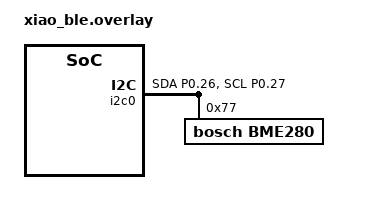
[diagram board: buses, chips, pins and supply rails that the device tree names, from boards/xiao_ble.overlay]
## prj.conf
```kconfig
# --- Core Zephyr Dependencies ---
CONFIG_GPIO=y               # Enable GPIO for LED control

# Set main thread stack size (adjust if needed)
CONFIG_MAIN_STACK_SIZE=1024

# --- I2C and Sensor Configuration ---
CONFIG_I2C=y                # Enable I2C peripheral support
CONFIG_SENSOR=y             # Enable the generic Sensor subsystem API
CONFIG_BME280=y             # Enable the BME280 sensor driver

# --- Console Output over USB (CDC ACM) ---
CONFIG_USB_DEVICE_STACK=y   # Enable the main USB device stack
CONFIG_USB_DEVICE_DRIVER=y  # Enable the nRF USB device controller driver
CONFIG_SERIAL=y             # Enable Serial driver subsystem (needed by USB CDC)
CONFIG_CONSOLE=y            # Enable the generic console subsystem
CONFIG_UART_LINE_CTRL=y     # Enable support required for USB CDC ACM detection
CONFIG_PRINTK=y             # Enable printk for formatted output
CONFIG_UART_CONSOLE=n       # Explicitly disable console output over physical UART pins

# --- Formatting Support ---
# Enable floating point printing support for printk/sprintf
CONFIG_CBPRINTF_FP_SUPPORT=y

# --- Optional: USB Device Descriptors ---
# You can uncomment and customize these for your device
# CONFIG_USB_DEVICE_PRODUCT="SmartPlantMonitor"
# CONFIG_USB_DEVICE_MANUFACTURER="YourName"
# Use unique VID/PID for production devices (requires registration)
# CONFIG_USB_DEVICE_VID=0xAAAA
# CONFIG_USB_DEVICE_PID=0xBBBB
```

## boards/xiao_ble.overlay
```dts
/* Smart Plant Monitor Overlay for xiao_ble */

/* Define the pin control configuration for I2C0 */
/* This block defines pin settings for different peripheral states (e.g., "default", "sleep") */
&pinctrl {
    /* Defines pin configuration for the 'default' state of i2c0 */
    i2c0_default: i2c0_default {
        group1 {
            /* Assigns physical pins P0.26 (XIAO D4/SDA) and P0.27 (XIAO D5/SCL) */
            psels = <NRF_PSEL(TWIM_SDA, 0, 26)>,
                    <NRF_PSEL(TWIM_SCL, 0, 27)>;
            /* Optional but recommended: Enable internal pull-ups. */
            /* Most BME280 modules have them, but enabling internal doesn't hurt. */
            bias-pull-up;
        };
    };

    /* You could define other states like sleep here if needed */
    /* i2c0_sleep: i2c0_sleep { ... }; */
};

/* Enable I2C0 and assign the defined pin control state(s) */
&i2c0 {
    compatible = "nordic,nrf-twim"; /* Good practice to include when modifying */
    status = "okay"; /* Enable the I2C0 peripheral */

    /* --- These lines fix the error --- */
    pinctrl-0 = <&i2c0_default>;   /* Link the 'default' state to the i2c0_default pin config */
    pinctrl-names = "default";     /* Name the state being configured */
    /* If you had an i2c0_sleep state, you'd add: */
    // pinctrl-1 = <&i2c0_sleep>;
    // pinctrl-names = "default", "sleep";
    /* --- End of fix --- */


    /* Define the BME280 sensor on the bus */
    /* Note: Change '@77' and 'reg = <0x77>' to '@76' and '<0x76>'
       if your specific BME280 module uses address 0x76 */
    bme280@77 {
        compatible = "bosch,bme280";
        reg = <0x77>; // The I2C address (0x77)
    };
};
```

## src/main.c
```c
#include <zephyr/kernel.h>
#include <zephyr/device.h>
#include <zephyr/devicetree.h>
#include <zephyr/drivers/sensor.h>
#include <zephyr/drivers/gpio.h>
#include <zephyr/sys/printk.h>
#include <stdio.h> // Used for sensor_value_to_double
#include <stdbool.h> // Used for boolean type

/* --- BME280 Setup --- */
// Get the device pointer from the devicetree node defined in the overlay
#define BME280_NODE DT_COMPAT_GET_ANY_STATUS_OKAY(bosch_bme280)
static const struct device *bme280_dev = DEVICE_DT_GET(BME280_NODE);

/* --- LED Setup (Using Blue LED - led2) --- */
// Use the alias "led2" defined for the board (Blue LED on XIAO - P0.06)
#define LED_NODE DT_ALIAS(led2)
#if DT_NODE_HAS_STATUS(LED_NODE, okay)
// If the node exists and is okay, create the gpio_dt_spec structure
static const struct gpio_dt_spec led_spec = GPIO_DT_SPEC_GET(LED_NODE, gpios);
#else
// If led2 alias isn't found or okay, generate a compile-time error
#error "Unsupported board: led2 devicetree alias is not defined or enabled"
#endif

/* --- Main Application Entry Point --- */
void main(void)
{
    // Variables for sensor readings and function return codes
    struct sensor_value temp, press, humidity;
    int ret;
    bool bme280_ready = false; // Flag to track sensor status

    printk("Zephyr BME280 + Blinky (Blue LED) on XIAO nRF52840\n");

    /* --- Check if LED is ready --- */
    // Check LED GPIO controller readiness
    if (!gpio_is_ready_dt(&led_spec)) {
        printk("Error: LED GPIO controller %s is not ready\n", led_spec.port->name);
        return; // Exit if LED GPIO not ready - Blinking is essential
    }

    /* --- Configure LED Pin --- */
    // Configure the LED pin as an output, start with it OFF (respecting ACTIVE_LOW)
    ret = gpio_pin_configure_dt(&led_spec, GPIO_OUTPUT_INACTIVE);
    if (ret < 0) {
        printk("Error %d: failed to configure LED pin\n", ret);
        return; // Exit if configuration fails
    }
    printk("Blue LED pin configured.\n");

    /* --- Check if BME280 is ready (but don't exit if not) --- */
    if (!device_is_ready(bme280_dev)) {
        printk("Warning: BME280 sensor device (%s) is not ready. Will skip sensor readings.\n", bme280_dev->name);
        bme280_ready = false; // Sensor is not ready
    } else {
        printk("BME280 sensor ready.\n");
        bme280_ready = true; // Sensor is ready
    }

    /* --- Infinite Loop for Reading and Blinking --- */
    while (1) {
        /* --- Toggle LED --- */
        // Flip the state of the LED (ON -> OFF or OFF -> ON)
        ret = gpio_pin_toggle_dt(&led_spec);
        if (ret < 0) {
            printk("Error %d: failed to toggle LED pin\n", ret);
            // Decide if you want to continue or stop on toggle failure
        }

        /* --- Read BME280 (only if it was ready during startup) --- */
        if (bme280_ready) {
            // Fetch a new sample from the sensor
            ret = sensor_sample_fetch(bme280_dev);
            if (ret != 0) {
                printk("BME280: Sample fetch failed (%d)\n", ret);
                // Optional: Set bme280_ready = false here if fetch fails repeatedly?
            } else {
                // Get specific channel values
                sensor_channel_get(bme280_dev, SENSOR_CHAN_AMBIENT_TEMP, &temp);
                sensor_channel_get(bme280_dev, SENSOR_CHAN_HUMIDITY, &humidity);
                sensor_channel_get(bme280_dev, SENSOR_CHAN_PRESS, &press);

                // Print the fetched values using printk (requires CONFIG_CBPRINTF_FP_SUPPORT=y)
                printk("Temp: %.2f C; Press: %.2f kPa; Humidity: %.2f %%\n",
                       sensor_value_to_double(&temp),
                       sensor_value_to_double(&press),
                       sensor_value_to_double(&humidity));
            }
        }
        // If bme280_ready is false, the code simply skips the fetch/read block

        /* Wait - this delay controls both the blink rate AND sensor reading frequency */
        /* The Blue LED will be ON for 2 seconds, then OFF for 2 seconds */
        k_sleep(K_MSEC(2000));
    }
}
```
